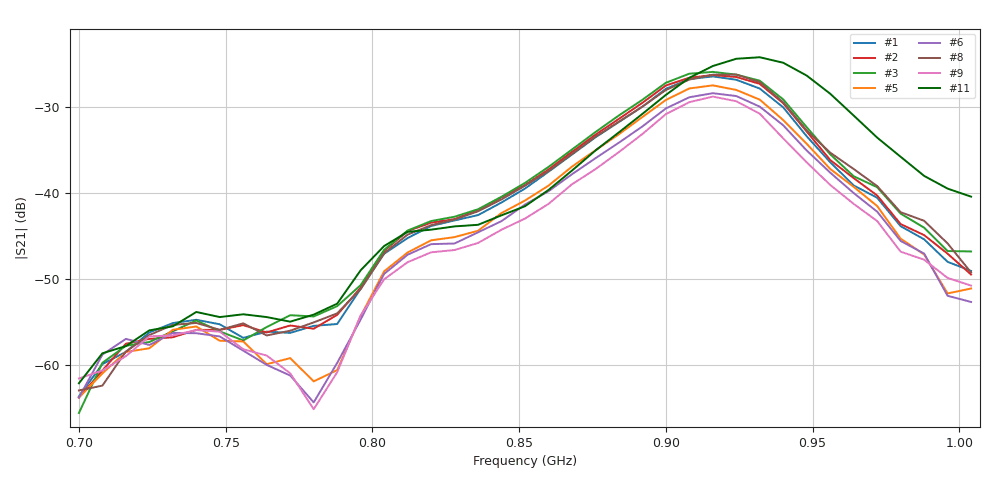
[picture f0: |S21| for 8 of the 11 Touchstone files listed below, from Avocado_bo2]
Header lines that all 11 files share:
# Hz S RI R 50
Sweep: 700 MHz to 1.004 GHz
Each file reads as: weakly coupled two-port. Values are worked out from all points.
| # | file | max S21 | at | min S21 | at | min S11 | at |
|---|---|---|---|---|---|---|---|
| 1 | bo41.s2p | -26.45 dB | 916 MHz | -63.6 dB | 700 MHz | -22.3 dB | 924 MHz |
| 2 | bo42.s2p | -26.29 dB | 916 MHz | -63.7 dB | 700 MHz | -18.2 dB | 924 MHz |
| 3 | bo43.s2p | -25.92 dB | 916 MHz | -65.5 dB | 700 MHz | -18.5 dB | 924 MHz |
| 4 | bo44.s2p | -26.29 dB | 916 MHz | -64.1 dB | 700 MHz | -19.8 dB | 924 MHz |
| 5 | bo45.s2p | -27.49 dB | 916 MHz | -63.7 dB | 700 MHz | -22.8 dB | 924 MHz |
| 6 | bo46.s2p | -28.40 dB | 916 MHz | -64.3 dB | 780 MHz | -29.4 dB | 924 MHz |
| 7 | bo47.s2p | -28.45 dB | 924 MHz | -66.4 dB | 780 MHz | -23.3 dB | 924 MHz |
| 8 | bo48.s2p | -26.23 dB | 924 MHz | -62.9 dB | 700 MHz | -14.5 dB | 924 MHz |
| 9 | bo49.s2p | -28.79 dB | 916 MHz | -65.1 dB | 780 MHz | -25.0 dB | 916 MHz |
| 10 | bo50.s2p | -27.25 dB | 916 MHz | -62.4 dB | 788 MHz | -19.2 dB | 924 MHz |
| 11 | moitruongbo.s2p | -24.22 dB | 932 MHz | -62.1 dB | 700 MHz | -19.9 dB | 932 MHz |
